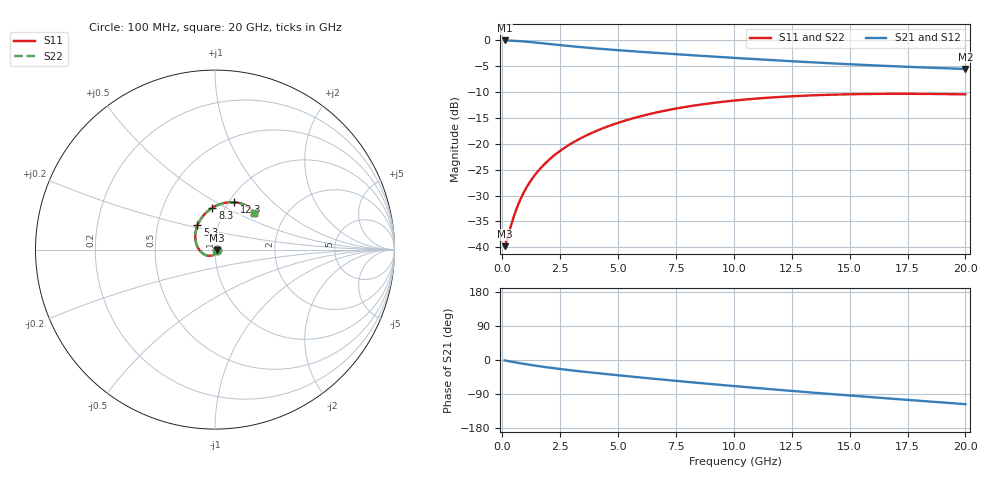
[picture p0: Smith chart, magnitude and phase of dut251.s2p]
! Touchstone file exported from HFSS 2023.1.0
!  File:  D:/Users/fzz/RDL_TSV/temp_RDL_TSV_251_1778760118.aedt
!  Generated:  8:14:02 %x4E0B%x5348  5%x6708 14, 2026
!  Design:  RDL_TSV
!  Project:  temp_RDL_TSV_251_1778760118
!  Setup:  Setup1
!  Solution:  Sweep
! Variables:
!  dtsv = 10.56um
!  hbump = 3um
!  htsv = 77.25um
!  ldown = 102.16um
!  lrdl = 247.78um
!  p = 40
!  p1 = 42.21um
!  rhole = 10um
!  subl = 1297.6um
!  t = 450um
!  tdown = 4.71um
!  trdl = 2.57um
!  viad = 10um
!  wdown = 29.48um
!  wrdl = 17.12um
!  xbump = 18um
# GHz S MA R 50.000000
! Terminal data exported
! Port[1] = TM1_1_T1
! Port[2] = TM1_4_T1
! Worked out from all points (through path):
!   200 points, 100 MHz to 20 GHz, reference 50 ohm
!   highest |S21| = -0.09 dB at 100 MHz (marker M1); lowest = -5.6 dB at 20 GHz (marker M2)
!   group delay of S21, straight-line fit = 15.3 ps
!   lowest |S11| = -39.8 dB at 100 MHz (marker M3), VSWR 1.02, Z = 51 - j0.403 ohm
!   |S11| at or under -10 dB: start of sweep to end of sweep
!   |S22| runs from -39.8 to -10.4 dB; largest |S21 - S12| = 1.3e-14
!   S11 on the Smith chart (normalised r, x): 100 MHz: 1.02, -0.01; 5.3 GHz: 0.79, +0.22; 8.3 GHz: 0.87, +0.43; 12.3 GHz: 1.06, +0.61; 20 GHz: 1.40, +0.63
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0.1  0.01028 -22.6  0.9899 -1.2  0.9899 -1.2  0.01028 -22.6
! Gamma 0 0 0 0
! Port Impedance 50 0 50 0
0.2  0.01188 -42.0  0.9889 -2.3  0.9889 -2.3  0.01188 -42.0
0.4  0.01692 -69.9  0.9852 -4.5  0.9852 -4.5  0.01693 -69.9
0.5  0.01992 -80.1  0.9827 -5.6  0.9827 -5.6  0.01992 -80.1
0.7  0.02631 -96.5  0.9766 -7.8  0.9766 -7.8  0.02632 -96.5
0.8  0.02961 -103.5  0.9731 -8.8  0.9731 -8.8  0.02961 -103.4
1  0.03627 -115.7  0.9651 -10.9  0.9651 -10.9  0.03628 -115.6
1.3  0.04631 -131.3  0.9515 -13.8  0.9515 -13.8  0.04631 -131.3
1.7  0.05958 -148.9  0.9318 -17.4  0.9318 -17.4  0.05956 -148.8
2.2  0.07586 -167.3  0.9067 -21.5  0.9067 -21.5  0.0758 -167.2
2.8  0.09485 174.5  0.8785 -26.0  0.8785 -26.0  0.09475 174.6
3.5  0.1163 157.4  0.8492 -30.8  0.8492 -30.8  0.1161 157.4
4.3  0.1396 141.5  0.8201 -36.0  0.8201 -36.0  0.1394 141.6
5.3  0.1669 125.8  0.7885 -42.1  0.7885 -42.1  0.1666 125.8
6.8  0.2033 107.6  0.7472 -51.0  0.7472 -51.0  0.2028 107.6
8.3  0.2336 93.6  0.7103 -59.5  0.7103 -59.5  0.233 93.6
10.1  0.2618 80.3  0.6704 -69.3  0.6704 -69.3  0.261 80.3
12.3  0.2851 67.7  0.6275 -80.6  0.6275 -80.6  0.2842 67.7
13.4  0.2927 62.6  0.6085 -86.0  0.6085 -86.0  0.2917 62.6
15  0.2997 56.2  0.5837 -93.7  0.5837 -93.7  0.2987 56.2
16.7  0.3027 50.6  0.5608 -101.6  0.5608 -101.6  0.3016 50.6
20  0.2991 42.9  0.5255 -116.5  0.5255 -116.5  0.298 42.9
